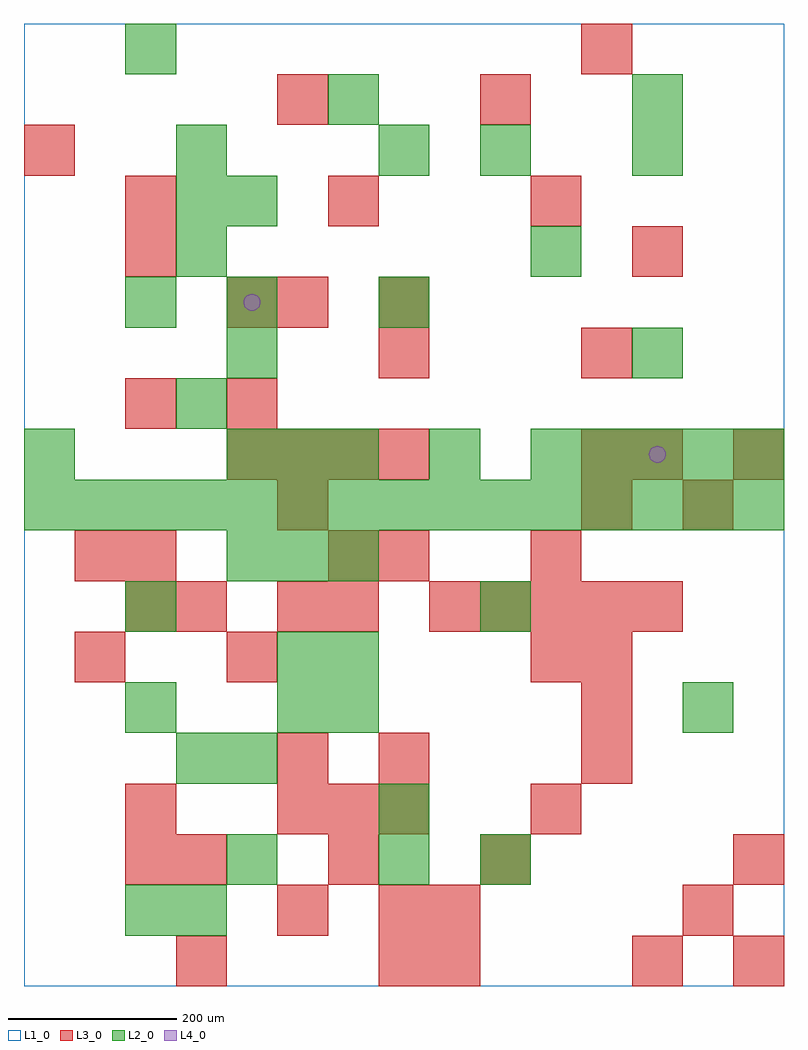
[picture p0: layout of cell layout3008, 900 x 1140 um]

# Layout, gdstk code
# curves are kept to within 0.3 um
import gdstk
lib = gdstk.Library(unit=1e-6, precision=1e-09)
def R(c, l, rs):  # rectangles x0, y0, x1, y1
    for r in rs: c.add(gdstk.rectangle(r[:2], r[2:], *l))
def A(c, l, x, y, w, h, nx, ny, dx, dy):  # array of equal rectangles
    R(c, l, [(x+i*dx, y+j*dy, x+i*dx+w, y+j*dy+h) for i in range(nx) for j in range(ny)])
def P(c, l, *ps):  # polygons
    for p in ps: c.add(gdstk.Polygon(p, *l))
L1_0 = (1, 0)
L2_0 = (2, 0)
L3_0 = (3, 0)
L4_0 = (4, 0)

layout3008 = lib.new_cell('layout3008')
R(layout3008, L1_0, [(0,0,900,1140)])
A(layout3008, L2_0, 240, 480, 60, 60, 3, 2, 60, 120)
A(layout3008, L2_0, 0, 540, 60, 60, 15, 1, 60, 0)
A(layout3008, L2_0, 600, 600, 60, 60, 5, 1, 60, 0)
A(layout3008, L2_0, 180, 840, 60, 60, 1, 3, 0, 60)
R(layout3008, L2_0, [(120,60,180,120), (180,60,240,120), (240,120,300,180), (420,120,480,180), (540,120,600,180), (420,180,480,240), (180,240,240,300), (240,240,300,300), (120,300,180,360), (300,300,360,360), (360,300,420,360), (780,300,840,360), (300,360,360,420), (360,360,420,420), (120,420,180,480), (540,420,600,480), (0,600,60,660), (480,600,540,660), (180,660,240,720), (240,720,300,780), (720,720,780,780), (120,780,180,840), (240,780,300,840), (420,780,480,840), (600,840,660,900), (240,900,300,960), (420,960,480,1020), (540,960,600,1020), (720,960,780,1020), (360,1020,420,1080), (720,1020,780,1080), (120,1080,180,1140)])
A(layout3008, L3_0, 300, 60, 60, 60, 1, 3, 0, 180)
A(layout3008, L3_0, 180, 120, 60, 60, 3, 1, 180, 0)
A(layout3008, L3_0, 300, 180, 60, 60, 3, 1, 60, 0)
A(layout3008, L3_0, 420, 240, 60, 60, 1, 3, 0, 240)
A(layout3008, L3_0, 660, 240, 60, 60, 1, 3, 0, 60)
A(layout3008, L3_0, 480, 420, 60, 60, 5, 1, 60, 0)
A(layout3008, L3_0, 120, 480, 60, 60, 1, 3, 0, 180)
A(layout3008, L3_0, 300, 540, 60, 60, 1, 3, 0, 240)
A(layout3008, L3_0, 240, 600, 60, 60, 4, 1, 60, 0)
A(layout3008, L3_0, 120, 900, 60, 60, 3, 1, 240, 0)
R(layout3008, L3_0, [(180,0,240,60), (420,0,480,60), (480,0,540,60), (720,0,780,60), (840,0,900,60), (420,60,480,120), (480,60,540,120), (780,60,840,120), (120,120,180,180), (840,120,900,180), (120,180,180,240), (600,180,660,240), (60,360,120,420), (240,360,300,420), (600,360,660,420), (120,420,180,480), (180,420,240,480), (360,420,420,480), (60,480,120,540), (360,480,420,540), (600,480,660,540), (660,540,720,600), (780,540,840,600), (660,600,720,660), (720,600,780,660), (840,600,900,660), (240,660,300,720), (660,720,720,780), (240,780,300,840), (420,780,480,840), (720,840,780,900), (0,960,60,1020), (540,1020,600,1080), (660,1080,720,1140)])
P(layout3008, L4_0, [(280,810),(279.239,813.827),(277.071,817.071),(273.827,819.239),(270,820),(266.173,819.239),(262.929,817.071),(260.761,813.827),(260,810),(260.761,806.173),(262.929,802.929),(266.173,800.761),(270,800),(273.827,800.761),(277.071,802.929),(279.239,806.173)],
  [(760,630),(759.239,633.827),(757.071,637.071),(753.827,639.239),(750,640),(746.173,639.239),(742.929,637.071),(740.761,633.827),(740,630),(740.761,626.173),(742.929,622.929),(746.173,620.761),(750,620),(753.827,620.761),(757.071,622.929),(759.239,626.173)])

lib.write_gds('layout3008.gds')
